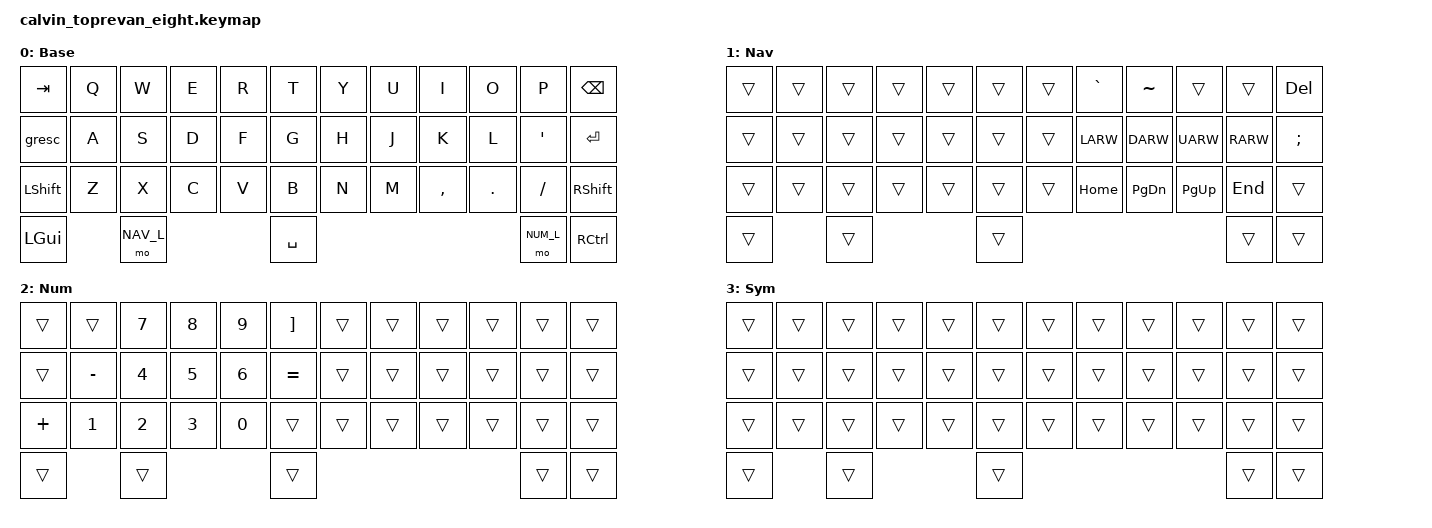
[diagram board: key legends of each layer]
/*
 * Copyright (c) 2024 The ZMK Contributors
 *
 * SPDX-License-Identifier: MIT
 */

#include <behaviors.dtsi>
#include <dt-bindings/zmk/keys.h>

#define NAV_L 1
#define NUM_L 2
#define MED_L 3
#define FUN_L 4

/ {
    keymap {
        compatible = "zmk,keymap";

        base_layer {
            display-name = "Base";
            bindings = <
 &kp TAB    &kp Q      &kp W      &kp E       &kp R          &kp T          &kp Y            &kp U          &kp I       &kp O      &kp P        &kp BKSP
 &gresc    &kp A      &kp S      &kp D       &kp F          &kp G          &kp H            &kp J          &kp K       &kp L      &kp QUOT      &kp RET
 &kp LSHFT  &kp Z      &kp X      &kp C       &kp V          &kp B          &kp N            &kp M          &kp COMMA   &kp DOT    &kp FSLH     &kp RSHFT
 &kp LGUI         &mo NAV_L                                    &kp SPACE                                                             &mo NUM_L  &kp RCTL
            >;
        };

        nav_layer {
            display-name = "Nav";
            bindings = <
&trans     &trans     &trans     &trans      &trans          &trans       &trans     &kp GRAVE      &kp TILDE   &trans     &trans     &kp DEL
&trans     &trans     &trans     &trans      &trans          &trans       &trans     &kp LARW       &kp DARW    &kp UARW   &kp RARW   &kp SEMI
&trans     &trans     &trans     &trans      &trans          &trans       &trans     &kp HOME       &kp PG_DN   &kp PG_UP  &kp END    &trans
&trans  &trans                                               &trans                                                        &trans     &trans
            >;
        };

        num_layer {
            display-name = "Num";
            bindings = <
&trans     &trans    &kp N7     &kp N8      &kp N9          &kp RBKT     &trans      &trans    &trans     &trans      &trans       &trans
&trans     &kp MINUS &kp N4     &kp N5      &kp N6          &kp EQUAL    &trans      &trans    &trans     &trans      &trans       &trans
&kp PLUS   &kp N1    &kp N2     &kp N3      &kp N0          &trans       &trans      &trans    &trans     &trans      &trans       &trans
&trans  &trans                                               &trans                                                        &trans     &trans
            >;
        };

        med_layer {
            display-name = "Sym";
            bindings = <
&trans     &trans   &trans &trans  &trans   &trans  &trans     &trans    &trans       &trans       &trans     &trans
&trans     &trans      &trans    &trans     &trans      &trans     &trans     &trans    &trans       &trans       &trans     &trans
&trans     &trans      &trans    &trans     &trans      &trans     &trans     &trans    &trans       &trans       &trans     &trans
&trans  &trans                                               &trans                                                        &trans     &trans
            >;
        };
    };
};
